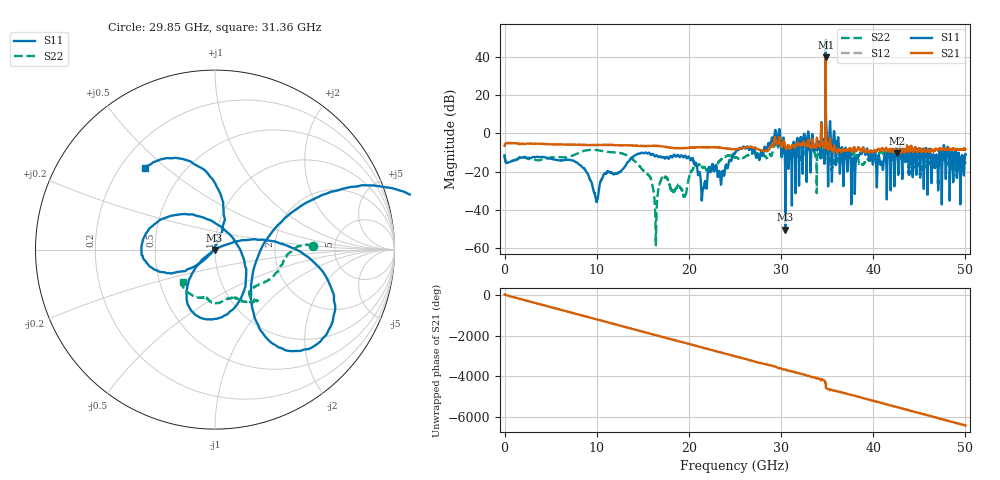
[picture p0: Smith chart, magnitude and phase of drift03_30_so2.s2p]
!Created with skrf (http://scikit-rf.org).
# Hz S RI R 50.0
!freq ReS11 ImS11 ReS21 ImS21 ReS12 ImS12 ReS22 ImS22
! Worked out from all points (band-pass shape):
!   10001 points, 300 kHz to 50 GHz, reference 50 ohm
!   highest |S21| = 39.83 dB at 34.85 GHz (marker M1); lowest = -10.4 dB at 42.55 GHz (marker M2)
!   |S21| within 3 dB of the highest: 34.84446 GHz to 34.84563 GHz (1.171 MHz wide, 0.00336 % of centre)
!   lowest |S11| = -50.3 dB at 30.47 GHz (marker M3), VSWR 1.01, Z = 49.7 - j0.169 ohm
!   |S11| at or under -10 dB: start of sweep to 15.23 GHz; 15.33 GHz to 25.05 GHz (9.727 GHz wide, 48.2 % of centre); 40.22 GHz to 41.62 GHz (1.402 GHz wide, 3.42 % of centre) (the widest 3 of 59)
!   |S22| runs from -59.0 to 30.9 dB; largest |S21 - S12| = 14
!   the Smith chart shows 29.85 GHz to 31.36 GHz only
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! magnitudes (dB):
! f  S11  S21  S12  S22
! 300 kHz  -11.5  -6.5  -6.5  -11.4
! 8.335 GHz  -17.1  -6.0  -6.0  -9.6
! 9.955 GHz  -35.6  -6.1  -6.1  -8.7
! 11 GHz  -21.0  -6.0  -6.1  -9.5
! 13.92 GHz  -12.3  -6.3  -6.3  -13.7
! 16.36 GHz  -11.9  -6.5  -6.5  -42.9
! 16.67 GHz  -12.4  -6.6  -6.5  -29.6
! 17.33 GHz  -12.7  -6.9  -6.9  -23.0
! 19.55 GHz  -11.7  -7.7  -7.7  -32.8
! 20.21 GHz  -13.9  -7.5  -7.5  -20.2
! 21.55 GHz  -28.6  -7.2  -7.2  -17.8
! 25 GHz  -10.6  -8.3  -8.2  -12.5
! 29.6 GHz  -5.6  -5.7  -5.9  -7.8
! 30.47 GHz  -50.3  -7.2  -7.2  -9.0
! 33.34 GHz  -3.8  -6.8  -6.7  -9.4
! 34.85 GHz  48.6  39.8  39.7  30.9
! 35.63 GHz  -6.6  -9.2  -9.1  -16.1
! 37.82 GHz  -12.7  -8.4  -8.4  -10.0
! 38.81 GHz  -9.1  -8.3  -8.3  -16.2
! 41.67 GHz  -9.4  -9.4  -9.4  -11.4
! 42.55 GHz  -8.3  -10.4  -10.4  -13.2
! 50 GHz  -11.1  -8.3  -8.2  -15.4
